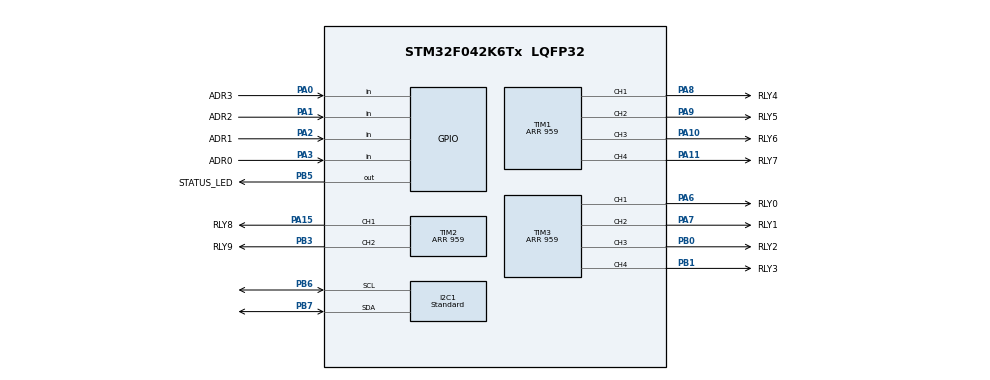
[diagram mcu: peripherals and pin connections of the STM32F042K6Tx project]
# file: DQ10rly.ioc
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I2C1.I2C_Speed_Mode=I2C_Standard
I2C1.NoStretchMode=I2C_NOSTRETCH_DISABLE
I2C1.Timing=0x10805D88
IWDG.Prescaler=IWDG_PRESCALER_4
Mcu.Family=STM32F0
Mcu.Name=STM32F042K6Tx
Mcu.Package=LQFP32
PA0.GPIO_Label=ADR3
PA0.GPIO_PuPd=GPIO_PULLUP
PA0.Signal=GPIO_Input
PA1.GPIO_Label=ADR2
PA1.GPIO_PuPd=GPIO_PULLUP
PA1.Signal=GPIO_Input
PA10.GPIO_Label=RLY6
PA10.Signal=S_TIM1_CH3
PA11.GPIO_Label=RLY7
PA11.Signal=S_TIM1_CH4
PA13.Mode=Serial_Wire
PA13.Signal=SYS_SWDIO
PA14.Mode=Serial_Wire
PA14.Signal=SYS_SWCLK
PA15.GPIO_Label=RLY8
PA15.Signal=S_TIM2_CH1_ETR
PA2.GPIO_Label=ADR1
PA2.GPIO_PuPd=GPIO_PULLUP
PA2.Signal=GPIO_Input
PA3.GPIO_Label=ADR0
PA3.GPIO_PuPd=GPIO_PULLUP
PA3.Signal=GPIO_Input
PA6.GPIO_Label=RLY0
PA6.Signal=S_TIM3_CH1
PA7.GPIO_Label=RLY1
PA7.Signal=S_TIM3_CH2
PA8.GPIO_Label=RLY4
PA8.Signal=S_TIM1_CH1
PA9.GPIO_Label=RLY5
PA9.Signal=S_TIM1_CH2
PB0.GPIO_Label=RLY2
PB0.Signal=S_TIM3_CH3
PB1.GPIO_Label=RLY3
PB1.Signal=S_TIM3_CH4
PB3.GPIO_Label=RLY9
PB3.Signal=S_TIM2_CH2
PB5.GPIO_Label=STATUS_LED
PB5.Signal=GPIO_Output
PB6.GPIO_PuPdOD=GPIO_NOPULL
PB6.Mode=I2C
PB6.Signal=I2C1_SCL
PB7.GPIO_PuPdOD=GPIO_NOPULL
PB7.Mode=I2C
PB7.Signal=I2C1_SDA
PF0-OSC_IN.Mode=HSE-External-Oscillator
PF0-OSC_IN.Signal=RCC_OSC_IN
PF1-OSC_OUT.Mode=HSE-External-Oscillator
PF1-OSC_OUT.Signal=RCC_OSC_OUT
ProjectManager.HeapSize=0x200
ProjectManager.StackSize=0x400
ProjectManager.TargetToolchain=TrueSTUDIO
RCC.AHBFreq_Value=48000000
RCC.APB1Freq_Value=48000000
RCC.APB1TimFreq_Value=48000000
RCC.HCLKFreq_Value=48000000
RCC.I2c1ClockSelection=RCC_I2C1CLKSOURCE_SYSCLK
RCC.PLLMUL=RCC_PLL_MUL6
RCC.PLLSourceVirtual=RCC_PLLSOURCE_HSE
RCC.SYSCLKFreq_VALUE=48000000
RCC.SYSCLKSource=RCC_SYSCLKSOURCE_PLLCLK
SH.S_TIM1_CH1.0=TIM1_CH1,PWM Generation1 CH1
SH.S_TIM1_CH2.0=TIM1_CH2,PWM Generation2 CH2
SH.S_TIM1_CH3.0=TIM1_CH3,PWM Generation3 CH3
SH.S_TIM1_CH4.0=TIM1_CH4,PWM Generation4 CH4
SH.S_TIM2_CH1_ETR.0=TIM2_CH1,PWM Generation1 CH1
SH.S_TIM2_CH2.0=TIM2_CH2,PWM Generation2 CH2
SH.S_TIM3_CH1.0=TIM3_CH1,PWM Generation1 CH1
SH.S_TIM3_CH2.0=TIM3_CH2,PWM Generation2 CH2
SH.S_TIM3_CH3.0=TIM3_CH3,PWM Generation3 CH3
SH.S_TIM3_CH4.0=TIM3_CH4,PWM Generation4 CH4
TIM1.Channel-PWM\ Generation1\ CH1=TIM_CHANNEL_1
TIM1.Channel-PWM\ Generation2\ CH2=TIM_CHANNEL_2
TIM1.Channel-PWM\ Generation3\ CH3=TIM_CHANNEL_3
TIM1.Channel-PWM\ Generation4\ CH4=TIM_CHANNEL_4
TIM1.Period=959
TIM2.Channel-PWM\ Generation1\ CH1=TIM_CHANNEL_1
TIM2.Channel-PWM\ Generation2\ CH2=TIM_CHANNEL_2
TIM2.Period=959
TIM3.Channel-PWM\ Generation1\ CH1=TIM_CHANNEL_1
TIM3.Channel-PWM\ Generation2\ CH2=TIM_CHANNEL_2
TIM3.Channel-PWM\ Generation3\ CH3=TIM_CHANNEL_3
TIM3.Channel-PWM\ Generation4\ CH4=TIM_CHANNEL_4
TIM3.Period=959
VP_IWDG_VS_IWDG.Mode=IWDG_Activate
VP_TIM1_VS_ClockSourceINT.Mode=Internal
board=DQ10rly

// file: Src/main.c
/**
  ******************************************************************************
  * File Name          : main.c
  * Description        : Main program body
  ******************************************************************************
  ** This notice applies to any and all portions of this file
  * that are not between comment pairs USER CODE BEGIN and
  * USER CODE END. Other portions of this file, whether
  * inserted by the user or by software development tools
  * are owned by their respective copyright owners.
  *
  * COPYRIGHT(c) 2017 STMicroelectronics
  *
  * Redistribution and use in source and binary forms, with or without modification,
  * are permitted provided that the following conditions are met:
  *   1. Redistributions of source code must retain the above copyright notice,
  *      this list of conditions and the following disclaimer.
  *   2. Redistributions in binary form must reproduce the above copyright notice,
  *      this list of conditions and the following disclaimer in the documentation
  *      and/or other materials provided with the distribution.
  *   3. Neither the name of STMicroelectronics nor the names of its contributors
  *      may be used to endorse or promote products derived from this software
  *      without specific prior written permission.
  *
  * THIS SOFTWARE IS PROVIDED BY THE COPYRIGHT HOLDERS AND CONTRIBUTORS "AS IS"
  * AND ANY EXPRESS OR IMPLIED WARRANTIES, INCLUDING, BUT NOT LIMITED TO, THE
  * IMPLIED WARRANTIES OF MERCHANTABILITY AND FITNESS FOR A PARTICULAR PURPOSE ARE
  * DISCLAIMED. IN NO EVENT SHALL THE COPYRIGHT HOLDER OR CONTRIBUTORS BE LIABLE
  * FOR ANY DIRECT, INDIRECT, INCIDENTAL, SPECIAL, EXEMPLARY, OR CONSEQUENTIAL
  * DAMAGES (INCLUDING, BUT NOT LIMITED TO, PROCUREMENT OF SUBSTITUTE GOODS OR
  * SERVICES; LOSS OF USE, DATA, OR PROFITS; OR BUSINESS INTERRUPTION) HOWEVER
  * CAUSED AND ON ANY THEORY OF LIABILITY, WHETHER IN CONTRACT, STRICT LIABILITY,
  * OR TORT (INCLUDING NEGLIGENCE OR OTHERWISE) ARISING IN ANY WAY OUT OF THE USE
  * OF THIS SOFTWARE, EVEN IF ADVISED OF THE POSSIBILITY OF SUCH DAMAGE.
  *
  ******************************************************************************
  */

#include "main.h"

/* USER CODE BEGIN Includes */
#include "interface.h"

/* USER CODE END Includes */

/* USER CODE BEGIN PV */
/* Private variables ---------------------------------------------------------*/
static uint32_t address;

/* USER CODE END PV */

static void LL_Init(void);
void SystemClock_Config(void);
static void MX_GPIO_Init(void);
static void MX_I2C1_Init(void);
static void MX_IWDG_Init(void);
static void MX_TIM1_Init(void);
static void MX_TIM2_Init(void);
static void MX_TIM3_Init(void);

/* USER CODE BEGIN PFP */
/* Private function prototypes -----------------------------------------------*/

/* USER CODE END PFP */

int main(void)
{

  /* MCU Configuration----------------------------------------------------------*/

  /* Reset of all peripherals, Initializes the Flash interface and the Systick. */
  LL_Init();

  /* USER CODE BEGIN Init */
#ifdef DEBUG
  LL_APB1_GRP2_EnableClock(LL_APB1_GRP2_PERIPH_DBGMCU);
  LL_DBGMCU_APB1_GRP1_FreezePeriph(LL_DBGMCU_APB1_GRP1_IWDG_STOP);
#endif
  /* USER CODE END Init */

  /* Configure the system clock */
  SystemClock_Config();

  /* Initialize all configured peripherals */
  MX_GPIO_Init();
  MX_I2C1_Init();
  MX_IWDG_Init();
  MX_TIM1_Init();
  MX_TIM2_Init();
  MX_TIM3_Init();

  /* USER CODE BEGIN 2 */
  LL_TIM_EnableCounter(TIM1);
  LL_TIM_EnableAllOutputs(TIM1);    // MOE bit, only for Timer1
  LL_TIM_EnableCounter(TIM2);
  LL_TIM_EnableCounter(TIM3);

  address = I2C_BASE_ADDRESS;
  address += LL_GPIO_IsInputPinSet(GPIOA, ADR0_Pin) ? 0x00 : 0x01;
  address += LL_GPIO_IsInputPinSet(GPIOA, ADR1_Pin) ? 0x00 : 0x02;
  address += LL_GPIO_IsInputPinSet(GPIOA, ADR2_Pin) ? 0x00 : 0x04;
  address += LL_GPIO_IsInputPinSet(GPIOA, ADR3_Pin) ? 0x00 : 0x08;

  LL_I2C_DisableOwnAddress1(I2C1);
  LL_I2C_SetOwnAddress1(I2C1, address << 1, LL_I2C_ADDRESSING_MODE_7BIT);
  LL_I2C_EnableOwnAddress1(I2C1);

  LL_SYSTICK_EnableIT();

  I2CHat_init();
  /* USER CODE END 2 */

  /* Infinite loop */
  /* USER CODE BEGIN WHILE */
  while (1)
  {
      I2CHat_run();
  /* USER CODE END WHILE */

  }

}

static void LL_Init(void)
{

  LL_APB1_GRP2_EnableClock(LL_APB1_GRP2_PERIPH_SYSCFG);

  /* System interrupt init*/
  /* SVC_IRQn interrupt configuration */
  NVIC_SetPriority(SVC_IRQn, 0);
  /* PendSV_IRQn interrupt configuration */
  NVIC_SetPriority(PendSV_IRQn, 0);
  /* SysTick_IRQn interrupt configuration */
  NVIC_SetPriority(SysTick_IRQn, 0);

}

/** System Clock Configuration
*/
void SystemClock_Config(void)
{

  LL_FLASH_SetLatency(LL_FLASH_LATENCY_1);

  if(LL_FLASH_GetLatency() != LL_FLASH_LATENCY_1)
  {
  Error_Handler();
  }
  LL_RCC_HSE_Enable();

   /* Wait till HSE is ready */
  while(LL_RCC_HSE_IsReady() != 1)
  {

  }
  LL_RCC_LSI_Enable();

   /* Wait till LSI is ready */
  while(LL_RCC_LSI_IsReady() != 1)
  {

  }
  LL_RCC_PLL_ConfigDomain_SYS(LL_RCC_PLLSOURCE_HSE, LL_RCC_PLL_MUL_6, LL_RCC_PREDIV_DIV_1);

  LL_RCC_PLL_Enable();

   /* Wait till PLL is ready */
  while(LL_RCC_PLL_IsReady() != 1)
  {

  }
  LL_RCC_SetAHBPrescaler(LL_RCC_SYSCLK_DIV_1);

  LL_RCC_SetAPB1Prescaler(LL_RCC_APB1_DIV_1);

  LL_RCC_SetSysClkSource(LL_RCC_SYS_CLKSOURCE_PLL);

   /* Wait till System clock is ready */
  while(LL_RCC_GetSysClkSource() != LL_RCC_SYS_CLKSOURCE_STATUS_PLL)
  {

  }
  LL_Init1msTick(48000000);

  LL_SYSTICK_SetClkSource(LL_SYSTICK_CLKSOURCE_HCLK);

  LL_SetSystemCoreClock(48000000);

  LL_RCC_SetI2CClockSource(LL_RCC_I2C1_CLKSOURCE_SYSCLK);

  /* SysTick_IRQn interrupt configuration */
  NVIC_SetPriority(SysTick_IRQn, 0);
}

/* I2C1 init function */
static void MX_I2C1_Init(void)
{

  LL_I2C_InitTypeDef I2C_InitStruct;

  LL_GPIO_InitTypeDef GPIO_InitStruct;

  /**I2C1 GPIO Configuration
  PB6   ------> I2C1_SCL
  PB7   ------> I2C1_SDA
  */
  GPIO_InitStruct.Pin = LL_GPIO_PIN_6;
  GPIO_InitStruct.Mode = LL_GPIO_MODE_ALTERNATE;
  GPIO_InitStruct.Speed = LL_GPIO_SPEED_FREQ_HIGH;
  GPIO_InitStruct.OutputType = LL_GPIO_OUTPUT_OPENDRAIN;
  GPIO_InitStruct.Pull = LL_GPIO_PULL_NO;
  GPIO_InitStruct.Alternate = LL_GPIO_AF_1;
  LL_GPIO_Init(GPIOB, &GPIO_InitStruct);

  GPIO_InitStruct.Pin = LL_GPIO_PIN_7;
  GPIO_InitStruct.Mode = LL_GPIO_MODE_ALTERNATE;
  GPIO_InitStruct.Speed = LL_GPIO_SPEED_FREQ_HIGH;
  GPIO_InitStruct.OutputType = LL_GPIO_OUTPUT_OPENDRAIN;
  GPIO_InitStruct.Pull = LL_GPIO_PULL_NO;
  GPIO_InitStruct.Alternate = LL_GPIO_AF_1;
  LL_GPIO_Init(GPIOB, &GPIO_InitStruct);

  /* Peripheral clock enable */
  LL_APB1_GRP1_EnableClock(LL_APB1_GRP1_PERIPH_I2C1);

    /**I2C Initialization
    */
  I2C_InitStruct.PeripheralMode = LL_I2C_MODE_I2C;
  I2C_InitStruct.Timing = 0x10805D88;
  I2C_InitStruct.AnalogFilter = LL_I2C_ANALOGFILTER_ENABLE;
  I2C_InitStruct.DigitalFilter = 0;
  I2C_InitStruct.OwnAddress1 = 0;
  I2C_InitStruct.TypeAcknowledge = LL_I2C_ACK;
  I2C_InitStruct.OwnAddrSize = LL_I2C_OWNADDRESS1_7BIT;
  LL_I2C_Init(I2C1, &I2C_InitStruct);

  LL_I2C_EnableAutoEndMode(I2C1);

  LL_I2C_SetOwnAddress2(I2C1, 0, LL_I2C_OWNADDRESS2_NOMASK);

  LL_I2C_DisableOwnAddress2(I2C1);

  LL_I2C_DisableGeneralCall(I2C1);

  LL_I2C_EnableClockStretching(I2C1);

}

/* IWDG init function */
static void MX_IWDG_Init(void)
{

  LL_IWDG_Enable(IWDG);

  LL_IWDG_EnableWriteAccess(IWDG);

  LL_IWDG_SetPrescaler(IWDG, LL_IWDG_PRESCALER_4);

  LL_IWDG_SetWindow(IWDG, 4095);

  LL_IWDG_SetReloadCounter(IWDG, 4095);

  while (LL_IWDG_IsReady(IWDG) != 1)
  {
  }

  LL_IWDG_ReloadCounter(IWDG);

}

/* TIM1 init function */
static void MX_TIM1_Init(void)
{

  LL_TIM_InitTypeDef TIM_InitStruct;
  LL_TIM_OC_InitTypeDef TIM_OC_InitStruct;
  LL_TIM_BDTR_InitTypeDef TIM_BDTRInitStruct;

  LL_GPIO_InitTypeDef GPIO_InitStruct;

  /* Peripheral clock enable */
  LL_APB1_GRP2_EnableClock(LL_APB1_GRP2_PERIPH_TIM1);

  TIM_InitStruct.Prescaler = 0;
  TIM_InitStruct.CounterMode = LL_TIM_COUNTERMODE_UP;
  TIM_InitStruct.Autoreload = 959;
  TIM_InitStruct.ClockDivision = LL_TIM_CLOCKDIVISION_DIV1;
  TIM_InitStruct.RepetitionCounter = 0;
  LL_TIM_Init(TIM1, &TIM_InitStruct);

  LL_TIM_DisableARRPreload(TIM1);

  LL_TIM_SetClockSource(TIM1, LL_TIM_CLOCKSOURCE_INTERNAL);

  LL_TIM_OC_EnablePreload(TIM1, LL_TIM_CHANNEL_CH1);

  TIM_OC_InitStruct.OCMode = LL_TIM_OCMODE_PWM1;
  TIM_OC_InitStruct.OCState = LL_TIM_OCSTATE_ENABLE;
  TIM_OC_InitStruct.OCNState = LL_TIM_OCSTATE_DISABLE;
  TIM_OC_InitStruct.CompareValue = 0;
  TIM_OC_InitStruct.OCPolarity = LL_TIM_OCPOLARITY_HIGH;
  TIM_OC_InitStruct.OCNPolarity = LL_TIM_OCPOLARITY_HIGH;
  TIM_OC_InitStruct.OCIdleState = LL_TIM_OCIDLESTATE_LOW;
  TIM_OC_InitStruct.OCNIdleState = LL_TIM_OCIDLESTATE_LOW;
  LL_TIM_OC_Init(TIM1, LL_TIM_CHANNEL_CH1, &TIM_OC_InitStruct);

  LL_TIM_OC_DisableFast(TIM1, LL_TIM_CHANNEL_CH1);

  LL_TIM_OC_EnablePreload(TIM1, LL_TIM_CHANNEL_CH2);

  TIM_OC_InitStruct.OCState = LL_TIM_OCSTATE_ENABLE;
  TIM_OC_InitStruct.OCNState = LL_TIM_OCSTATE_DISABLE;
  LL_TIM_OC_Init(TIM1, LL_TIM_CHANNEL_CH2, &TIM_OC_InitStruct);

  LL_TIM_OC_DisableFast(TIM1, LL_TIM_CHANNEL_CH2);

  LL_TIM_OC_EnablePreload(TIM1, LL_TIM_CHANNEL_CH3);

  TIM_OC_InitStruct.OCState = LL_TIM_OCSTATE_ENABLE;
  TIM_OC_InitStruct.OCNState = LL_TIM_OCSTATE_DISABLE;
  LL_TIM_OC_Init(TIM1, LL_TIM_CHANNEL_CH3, &TIM_OC_InitStruct);

  LL_TIM_OC_DisableFast(TIM1, LL_TIM_CHANNEL_CH3);

  LL_TIM_OC_EnablePreload(TIM1, LL_TIM_CHANNEL_CH4);

  TIM_OC_InitStruct.OCState = LL_TIM_OCSTATE_ENABLE;
  TIM_OC_InitStruct.OCNState = LL_TIM_OCSTATE_DISABLE;
  LL_TIM_OC_Init(TIM1, LL_TIM_CHANNEL_CH4, &TIM_OC_InitStruct);

  LL_TIM_OC_DisableFast(TIM1, LL_TIM_CHANNEL_CH4);

  LL_TIM_SetTriggerOutput(TIM1, LL_TIM_TRGO_RESET);

  LL_TIM_DisableMasterSlaveMode(TIM1);

  TIM_BDTRInitStruct.OSSRState = LL_TIM_OSSR_DISABLE;
  TIM_BDTRInitStruct.OSSIState = LL_TIM_OSSI_DISABLE;
  TIM_BDTRInitStruct.LockLevel = LL_TIM_LOCKLEVEL_OFF;
  TIM_BDTRInitStruct.DeadTime = 0;
  TIM_BDTRInitStruct.BreakState = LL_TIM_BREAK_DISABLE;
  TIM_BDTRInitStruct.BreakPolarity = LL_TIM_BREAK_POLARITY_HIGH;
  TIM_BDTRInitStruct.AutomaticOutput = LL_TIM_AUTOMATICOUTPUT_DISABLE;
  LL_TIM_BDTR_Init(TIM1, &TIM_BDTRInitStruct);

  /**TIM1 GPIO Configuration
  PA8   ------> TIM1_CH1
  PA9   ------> TIM1_CH2
  PA10   ------> TIM1_CH3
  PA11   ------> TIM1_CH4
  */
  GPIO_InitStruct.Pin = RLY4_Pin;
  GPIO_InitStruct.Mode = LL_GPIO_MODE_ALTERNATE;
  GPIO_InitStruct.Speed = LL_GPIO_SPEED_FREQ_LOW;
  GPIO_InitStruct.OutputType = LL_GPIO_OUTPUT_PUSHPULL;
  GPIO_InitStruct.Pull = LL_GPIO_PULL_NO;
  GPIO_InitStruct.Alternate = LL_GPIO_AF_2;
  LL_GPIO_Init(RLY4_GPIO_Port, &GPIO_InitStruct);

  GPIO_InitStruct.Pin = RLY5_Pin;
  GPIO_InitStruct.Mode = LL_GPIO_MODE_ALTERNATE;
  GPIO_InitStruct.Speed = LL_GPIO_SPEED_FREQ_LOW;
  GPIO_InitStruct.OutputType = LL_GPIO_OUTPUT_PUSHPULL;
  GPIO_InitStruct.Pull = LL_GPIO_PULL_NO;
  GPIO_InitStruct.Alternate = LL_GPIO_AF_2;
  LL_GPIO_Init(RLY5_GPIO_Port, &GPIO_InitStruct);

  GPIO_InitStruct.Pin = RLY6_Pin;
  GPIO_InitStruct.Mode = LL_GPIO_MODE_ALTERNATE;
  GPIO_InitStruct.Speed = LL_GPIO_SPEED_FREQ_LOW;
  GPIO_InitStruct.OutputType = LL_GPIO_OUTPUT_PUSHPULL;
  GPIO_InitStruct.Pull = LL_GPIO_PULL_NO;
  GPIO_InitStruct.Alternate = LL_GPIO_AF_2;
  LL_GPIO_Init(RLY6_GPIO_Port, &GPIO_InitStruct);

  GPIO_InitStruct.Pin = RLY7_Pin;
  GPIO_InitStruct.Mode = LL_GPIO_MODE_ALTERNATE;
  GPIO_InitStruct.Speed = LL_GPIO_SPEED_FREQ_LOW;
  GPIO_InitStruct.OutputType = LL_GPIO_OUTPUT_PUSHPULL;
  GPIO_InitStruct.Pull = LL_GPIO_PULL_NO;
  GPIO_InitStruct.Alternate = LL_GPIO_AF_2;
  LL_GPIO_Init(RLY7_GPIO_Port, &GPIO_InitStruct);

}

/* TIM2 init function */
static void MX_TIM2_Init(void)
{

  LL_TIM_InitTypeDef TIM_InitStruct;
  LL_TIM_OC_InitTypeDef TIM_OC_InitStruct;

  LL_GPIO_InitTypeDef GPIO_InitStruct;

  /* Peripheral clock enable */
  LL_APB1_GRP1_EnableClock(LL_APB1_GRP1_PERIPH_TIM2);

  TIM_InitStruct.Prescaler = 0;
  TIM_InitStruct.CounterMode = LL_TIM_COUNTERMODE_UP;
  TIM_InitStruct.Autoreload = 959;
  TIM_InitStruct.ClockDivision = LL_TIM_CLOCKDIVISION_DIV1;
  LL_TIM_Init(TIM2, &TIM_InitStruct);

  LL_TIM_DisableARRPreload(TIM2);

  LL_TIM_OC_EnablePreload(TIM2, LL_TIM_CHANNEL_CH1);

  TIM_OC_InitStruct.OCMode = LL_TIM_OCMODE_PWM1;
  TIM_OC_InitStruct.OCState = LL_TIM_OCSTATE_ENABLE;
  TIM_OC_InitStruct.OCNState = LL_TIM_OCSTATE_DISABLE;
  TIM_OC_InitStruct.CompareValue = 0;
  TIM_OC_InitStruct.OCPolarity = LL_TIM_OCPOLARITY_HIGH;
  LL_TIM_OC_Init(TIM2, LL_TIM_CHANNEL_CH1, &TIM_OC_InitStruct);

  LL_TIM_OC_DisableFast(TIM2, LL_TIM_CHANNEL_CH1);

  LL_TIM_OC_EnablePreload(TIM2, LL_TIM_CHANNEL_CH2);

  TIM_OC_InitStruct.OCState = LL_TIM_OCSTATE_ENABLE;
  TIM_OC_InitStruct.OCNState = LL_TIM_OCSTATE_DISABLE;
  LL_TIM_OC_Init(TIM2, LL_TIM_CHANNEL_CH2, &TIM_OC_InitStruct);

  LL_TIM_OC_DisableFast(TIM2, LL_TIM_CHANNEL_CH2);

  LL_TIM_SetTriggerOutput(TIM2, LL_TIM_TRGO_RESET);

  LL_TIM_DisableMasterSlaveMode(TIM2);

  /**TIM2 GPIO Configuration
  PA15   ------> TIM2_CH1
  PB3   ------> TIM2_CH2
  */
  GPIO_InitStruct.Pin = RLY8_Pin;
  GPIO_InitStruct.Mode = LL_GPIO_MODE_ALTERNATE;
  GPIO_InitStruct.Speed = LL_GPIO_SPEED_FREQ_LOW;
  GPIO_InitStruct.OutputType = LL_GPIO_OUTPUT_PUSHPULL;
  GPIO_InitStruct.Pull = LL_GPIO_PULL_NO;
  GPIO_InitStruct.Alternate = LL_GPIO_AF_2;
  LL_GPIO_Init(RLY8_GPIO_Port, &GPIO_InitStruct);

  GPIO_InitStruct.Pin = RLY9_Pin;
  GPIO_InitStruct.Mode = LL_GPIO_MODE_ALTERNATE;
  GPIO_InitStruct.Speed = LL_GPIO_SPEED_FREQ_LOW;
  GPIO_InitStruct.OutputType = LL_GPIO_OUTPUT_PUSHPULL;
  GPIO_InitStruct.Pull = LL_GPIO_PULL_NO;
  GPIO_InitStruct.Alternate = LL_GPIO_AF_2;
  LL_GPIO_Init(RLY9_GPIO_Port, &GPIO_InitStruct);

}

/* TIM3 init function */
static void MX_TIM3_Init(void)
{

  LL_TIM_InitTypeDef TIM_InitStruct;
  LL_TIM_OC_InitTypeDef TIM_OC_InitStruct;

  LL_GPIO_InitTypeDef GPIO_InitStruct;

  /* Peripheral clock enable */
  LL_APB1_GRP1_EnableClock(LL_APB1_GRP1_PERIPH_TIM3);

  TIM_InitStruct.Prescaler = 0;
  TIM_InitStruct.CounterMode = LL_TIM_COUNTERMODE_UP;
  TIM_InitStruct.Autoreload = 959;
  TIM_InitStruct.ClockDivision = LL_TIM_CLOCKDIVISION_DIV1;
  LL_TIM_Init(TIM3, &TIM_InitStruct);

  LL_TIM_DisableARRPreload(TIM3);

  LL_TIM_OC_EnablePreload(TIM3, LL_TIM_CHANNEL_CH1);

  TIM_OC_InitStruct.OCMode = LL_TIM_OCMODE_PWM1;
  TIM_OC_InitStruct.OCState = LL_TIM_OCSTATE_ENABLE;
  TIM_OC_InitStruct.OCNState = LL_TIM_OCSTATE_DISABLE;
  TIM_OC_InitStruct.CompareValue = 0;
  TIM_OC_InitStruct.OCPolarity = LL_TIM_OCPOLARITY_HIGH;
  LL_TIM_OC_Init(TIM3, LL_TIM_CHANNEL_CH1, &TIM_OC_InitStruct);

  LL_TIM_OC_DisableFast(TIM3, LL_TIM_CHANNEL_CH1);

  LL_TIM_OC_EnablePreload(TIM3, LL_TIM_CHANNEL_CH2);

  TIM_OC_InitStruct.OCState = LL_TIM_OCSTATE_ENABLE;
  TIM_OC_InitStruct.OCNState = LL_TIM_OCSTATE_DISABLE;
  LL_TIM_OC_Init(TIM3, LL_TIM_CHANNEL_CH2, &TIM_OC_InitStruct);

  LL_TIM_OC_DisableFast(TIM3, LL_TIM_CHANNEL_CH2);

  LL_TIM_OC_EnablePreload(TIM3, LL_TIM_CHANNEL_CH3);

  TIM_OC_InitStruct.OCState = LL_TIM_OCSTATE_ENABLE;
  TIM_OC_InitStruct.OCNState = LL_TIM_OCSTATE_DISABLE;
  LL_TIM_OC_Init(TIM3, LL_TIM_CHANNEL_CH3, &TIM_OC_InitStruct);

  LL_TIM_OC_DisableFast(TIM3, LL_TIM_CHANNEL_CH3);

  LL_TIM_OC_EnablePreload(TIM3, LL_TIM_CHANNEL_CH4);

  TIM_OC_InitStruct.OCState = LL_TIM_OCSTATE_ENABLE;
  TIM_OC_InitStruct.OCNState = LL_TIM_OCSTATE_DISABLE;
  LL_TIM_OC_Init(TIM3, LL_TIM_CHANNEL_CH4, &TIM_OC_InitStruct);

  LL_TIM_OC_DisableFast(TIM3, LL_TIM_CHANNEL_CH4);

  LL_TIM_SetTriggerOutput(TIM3, LL_TIM_TRGO_RESET);

  LL_TIM_DisableMasterSlaveMode(TIM3);

  /**TIM3 GPIO Configuration
  PA6   ------> TIM3_CH1
  PA7   ------> TIM3_CH2
  PB0   ------> TIM3_CH3
  PB1   ------> TIM3_CH4
  */
  GPIO_InitStruct.Pin = RLY0_Pin;
  GPIO_InitStruct.Mode = LL_GPIO_MODE_ALTERNATE;
  GPIO_InitStruct.Speed = LL_GPIO_SPEED_FREQ_LOW;
  GPIO_InitStruct.OutputType = LL_GPIO_OUTPUT_PUSHPULL;
  GPIO_InitStruct.Pull = LL_GPIO_PULL_NO;
  GPIO_InitStruct.Alternate = LL_GPIO_AF_1;
  LL_GPIO_Init(RLY0_GPIO_Port, &GPIO_InitStruct);

  GPIO_InitStruct.Pin = RLY1_Pin;
  GPIO_InitStruct.Mode = LL_GPIO_MODE_ALTERNATE;
  GPIO_InitStruct.Speed = LL_GPIO_SPEED_FREQ_LOW;
  GPIO_InitStruct.OutputType = LL_GPIO_OUTPUT_PUSHPULL;
  GPIO_InitStruct.Pull = LL_GPIO_PULL_NO;
  GPIO_InitStruct.Alternate = LL_GPIO_AF_1;
  LL_GPIO_Init(RLY1_GPIO_Port, &GPIO_InitStruct);

  GPIO_InitStruct.Pin = RLY2_Pin;
  GPIO_InitStruct.Mode = LL_GPIO_MODE_ALTERNATE;
  GPIO_InitStruct.Speed = LL_GPIO_SPEED_FREQ_LOW;
  GPIO_InitStruct.OutputType = LL_GPIO_OUTPUT_PUSHPULL;
  GPIO_InitStruct.Pull = LL_GPIO_PULL_NO;
  GPIO_InitStruct.Alternate = LL_GPIO_AF_1;
  LL_GPIO_Init(RLY2_GPIO_Port, &GPIO_InitStruct);

  GPIO_InitStruct.Pin = RLY3_Pin;
  GPIO_InitStruct.Mode = LL_GPIO_MODE_ALTERNATE;
  GPIO_InitStruct.Speed = LL_GPIO_SPEED_FREQ_LOW;
  GPIO_InitStruct.OutputType = LL_GPIO_OUTPUT_PUSHPULL;
  GPIO_InitStruct.Pull = LL_GPIO_PULL_NO;
  GPIO_InitStruct.Alternate = LL_GPIO_AF_1;
  LL_GPIO_Init(RLY3_GPIO_Port, &GPIO_InitStruct);

}

/** Configure pins as
        * Analog
        * Input
        * Output
        * EVENT_OUT
        * EXTI
*/
static void MX_GPIO_Init(void)
{

  LL_GPIO_InitTypeDef GPIO_InitStruct;

  /* GPIO Ports Clock Enable */
  LL_AHB1_GRP1_EnableClock(LL_AHB1_GRP1_PERIPH_GPIOF);
  LL_AHB1_GRP1_EnableClock(LL_AHB1_GRP1_PERIPH_GPIOA);
  LL_AHB1_GRP1_EnableClock(LL_AHB1_GRP1_PERIPH_GPIOB);

  /**/
  LL_GPIO_ResetOutputPin(STATUS_LED_GPIO_Port, STATUS_LED_Pin);

  /**/
  GPIO_InitStruct.Pin = ADR3_Pin;
  GPIO_InitStruct.Mode = LL_GPIO_MODE_INPUT;
  GPIO_InitStruct.Pull = LL_GPIO_PULL_UP;
  LL_GPIO_Init(ADR3_GPIO_Port, &GPIO_InitStruct);

  /**/
  GPIO_InitStruct.Pin = ADR2_Pin;
  GPIO_InitStruct.Mode = LL_GPIO_MODE_INPUT;
  GPIO_InitStruct.Pull = LL_GPIO_PULL_UP;
  LL_GPIO_Init(ADR2_GPIO_Port, &GPIO_InitStruct);

  /**/
  GPIO_InitStruct.Pin = ADR1_Pin;
  GPIO_InitStruct.Mode = LL_GPIO_MODE_INPUT;
  GPIO_InitStruct.Pull = LL_GPIO_PULL_UP;
  LL_GPIO_Init(ADR1_GPIO_Port, &GPIO_InitStruct);

  /**/
  GPIO_InitStruct.Pin = ADR0_Pin;
  GPIO_InitStruct.Mode = LL_GPIO_MODE_INPUT;
  GPIO_InitStruct.Pull = LL_GPIO_PULL_UP;
  LL_GPIO_Init(ADR0_GPIO_Port, &GPIO_InitStruct);

  /**/
  GPIO_InitStruct.Pin = STATUS_LED_Pin;
  GPIO_InitStruct.Mode = LL_GPIO_MODE_OUTPUT;
  GPIO_InitStruct.Speed = LL_GPIO_SPEED_FREQ_LOW;
  GPIO_InitStruct.OutputType = LL_GPIO_OUTPUT_PUSHPULL;
  GPIO_InitStruct.Pull = LL_GPIO_PULL_NO;
  LL_GPIO_Init(STATUS_LED_GPIO_Port, &GPIO_InitStruct);

}

void _Error_Handler(char * file, int line)
{
  while(1)
  {
  }
}

/************************ (C) COPYRIGHT STMicroelectronics *****END OF FILE****/
